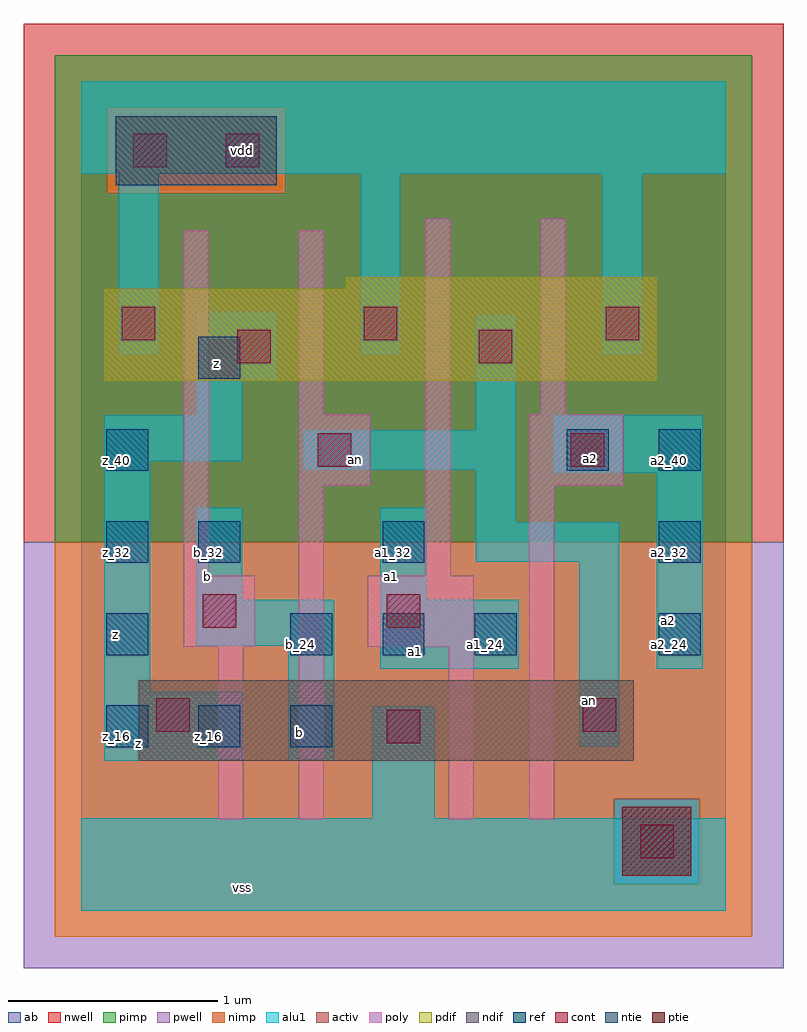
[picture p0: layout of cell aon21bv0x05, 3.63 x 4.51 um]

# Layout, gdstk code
import gdstk
lib = gdstk.Library(unit=1e-6, precision=2.5e-09)
def R(c, l, rs):  # rectangles x0, y0, x1, y1
    for r in rs: c.add(gdstk.rectangle(r[:2], r[2:], *l))
def A(c, l, x, y, w, h, nx, ny, dx, dy):  # array of equal rectangles
    R(c, l, [(x+i*dx, y+j*dy, x+i*dx+w, y+j*dy+h) for i in range(nx) for j in range(ny)])
ndif = (3, 0)
pdif = (4, 0)
ntie = (5, 0)
ptie = (6, 0)
ref = (24, 0)
cont = (25, 0)
pwell = (41, 0)
nwell = (42, 0)
activ = (43, 0)
pimp = (44, 0)
nimp = (45, 0)
poly = (46, 0)
alu1 = (49, 0)
ab = (63, 0)

aon21bv0x05 = lib.new_cell('aon21bv0x05')
R(aon21bv0x05, ndif, [(0.275,0.715,2.64,1.1)])
R(aon21bv0x05, pdif, [(0.11,2.53,2.75,2.97), (1.265,2.97,2.75,3.025)])
R(aon21bv0x05, ntie, [(0.165,3.465,0.935,3.795)])
R(aon21bv0x05, ptie, [(2.585,0.165,2.915,0.495)])
A(aon21bv0x05, ref, 0.12, 0.78, 0.2, 0.2, 3, 1, 0.44, 0)
A(aon21bv0x05, ref, 0.12, 1.22, 0.2, 0.2, 1, 3, 0, 0.44)
A(aon21bv0x05, ref, 1, 1.22, 0.2, 0.2, 3, 1, 0.44, 0)
A(aon21bv0x05, ref, 2.76, 1.22, 0.2, 0.2, 1, 3, 0, 0.44)
R(aon21bv0x05, ref, [(0.56,1.66,0.76,1.86), (1.44,1.66,1.64,1.86), (2.32,2.1,2.52,2.3), (0.56,2.54,0.76,2.74)])
A(aon21bv0x05, cont, 0.195, 2.725, 0.16, 0.16, 3, 1, 1.155, 0)
R(aon21bv0x05, cont, [(2.67,0.25,2.83,0.41), (1.46,0.8,1.62,0.96), (0.36,0.855,0.52,1.015), (2.395,0.855,2.555,1.015), (0.58,1.35,0.74,1.51), (1.46,1.35,1.62,1.51), (1.13,2.12,1.29,2.28), (2.34,2.12,2.5,2.28), (0.745,2.615,0.905,2.775), (1.9,2.615,2.06,2.775), (0.25,3.55,0.41,3.71), (0.69,3.55,0.85,3.71)])
R(aon21bv0x05, pwell, [(-0.275,-0.275,3.355,1.76)])
R(aon21bv0x05, nwell, [(-0.275,1.76,3.355,4.235)])
R(aon21bv0x05, activ, [(2.585,0.165,2.915,0.495), (0.275,0.715,2.64,1.1), (0.11,2.53,2.75,2.97), (1.265,2.97,2.75,3.025), (0.165,3.465,0.935,3.795)])
R(aon21bv0x05, pimp, [(2.545,0.125,2.955,0.535), (-0.125,1.76,3.205,3.425), (-0.125,3.425,0.125,3.835), (0.975,3.425,3.205,3.835), (-0.125,3.835,3.205,4.085)])
R(aon21bv0x05, nimp, [(-0.125,-0.125,3.205,0.125), (-0.125,0.125,2.545,0.535), (2.955,0.125,3.205,0.535), (-0.125,0.535,3.205,1.76), (0.125,3.425,0.975,3.835)])
R(aon21bv0x05, poly, [(0.655,0.435,0.775,1.26), (1.04,0.435,1.16,2.03), (1.755,0.435,1.875,1.26), (2.14,0.435,2.26,2.03), (0.49,1.26,0.83,1.6), (1.37,1.26,1.875,1.6), (0.49,1.6,0.61,3.25), (1.645,1.6,1.765,3.305), (1.04,2.03,1.38,2.37), (2.14,2.03,2.59,2.37), (1.04,2.37,1.16,3.25), (2.195,2.37,2.315,3.305)])
A(aon21bv0x05, alu1, 0.18, 2.655, 0.19, 0.865, 3, 1, 1.155, 0)
R(aon21bv0x05, alu1, [(0,0,3.08,0.44), (1.39,0.44,1.69,0.975), (0.11,0.715,0.77,1.045), (0.99,0.715,1.21,1.265), (2.38,0.785,2.57,1.665), (0.11,1.045,0.33,2.145), (1.43,1.155,2.09,1.485), (2.75,1.155,2.97,2.09), (0.55,1.265,1.21,1.485), (0.55,1.485,0.77,1.925), (1.43,1.485,1.65,1.925), (1.885,1.665,2.57,1.855), (1.885,1.855,2.075,2.105), (2.255,2.09,2.97,2.365), (1.06,2.105,2.075,2.295), (0.11,2.145,0.77,2.365), (1.885,2.295,2.075,2.845), (0.55,2.365,0.77,2.53), (0.55,2.53,0.935,2.86), (0,3.52,3.08,3.96)])
R(aon21bv0x05, ab, [(0,0,3.08,3.96)])
aon21bv0x05.add(gdstk.Label('vss', (0.77,0.11), layer=49, texttype=0))
aon21bv0x05.add(gdstk.Label('a2', (2.805,1.3875), layer=49, texttype=0))
aon21bv0x05.add(gdstk.Label('an', (2.4275,1.005), layer=49, texttype=0))
aon21bv0x05.add(gdstk.Label('a1', (1.595,1.2375), layer=49, texttype=0))
aon21bv0x05.add(gdstk.Label('b', (1.045,0.8525), layer=49, texttype=0))
aon21bv0x05.add(gdstk.Label('z', (0.275,0.7975), layer=49, texttype=0))
aon21bv0x05.add(gdstk.Label('a2', (2.4325,2.1575), layer=49, texttype=0))
aon21bv0x05.add(gdstk.Label('a1', (1.485,1.595), layer=49, texttype=0))
aon21bv0x05.add(gdstk.Label('b', (0.605,1.595), layer=49, texttype=0))
aon21bv0x05.add(gdstk.Label('an', (1.3125,2.1525), layer=49, texttype=0))
aon21bv0x05.add(gdstk.Label('z', (0.165,1.32), layer=49, texttype=0))
aon21bv0x05.add(gdstk.Label('z', (0.645,2.6125), layer=49, texttype=0))
aon21bv0x05.add(gdstk.Label('vdd', (0.77,3.63), layer=49, texttype=0))
aon21bv0x05.add(gdstk.Label('z_16', (0.61,0.83), layer=24, texttype=0))
aon21bv0x05.add(gdstk.Label('b_32', (0.61,1.71), layer=24, texttype=0))
aon21bv0x05.add(gdstk.Label('b_16', (1.05,0.83), layer=24, texttype=0))
aon21bv0x05.add(gdstk.Label('b_24', (1.05,1.27), layer=24, texttype=0))
aon21bv0x05.add(gdstk.Label('z_16', (0.17,0.83), layer=24, texttype=0))
aon21bv0x05.add(gdstk.Label('z_24', (0.17,1.27), layer=24, texttype=0))
aon21bv0x05.add(gdstk.Label('z_32', (0.17,1.71), layer=24, texttype=0))
aon21bv0x05.add(gdstk.Label('z_40', (0.17,2.15), layer=24, texttype=0))
aon21bv0x05.add(gdstk.Label('a1_24', (1.93,1.27), layer=24, texttype=0))
aon21bv0x05.add(gdstk.Label('a1_24', (1.49,1.27), layer=24, texttype=0))
aon21bv0x05.add(gdstk.Label('a1_32', (1.49,1.71), layer=24, texttype=0))
aon21bv0x05.add(gdstk.Label('a2_32', (2.81,1.71), layer=24, texttype=0))
aon21bv0x05.add(gdstk.Label('a2_40', (2.37,2.15), layer=24, texttype=0))
aon21bv0x05.add(gdstk.Label('a2_40', (2.81,2.15), layer=24, texttype=0))
aon21bv0x05.add(gdstk.Label('z_48', (0.61,2.59), layer=24, texttype=0))
aon21bv0x05.add(gdstk.Label('a2_24', (2.81,1.27), layer=24, texttype=0))

lib.write_gds('aon21bv0x05.gds')
